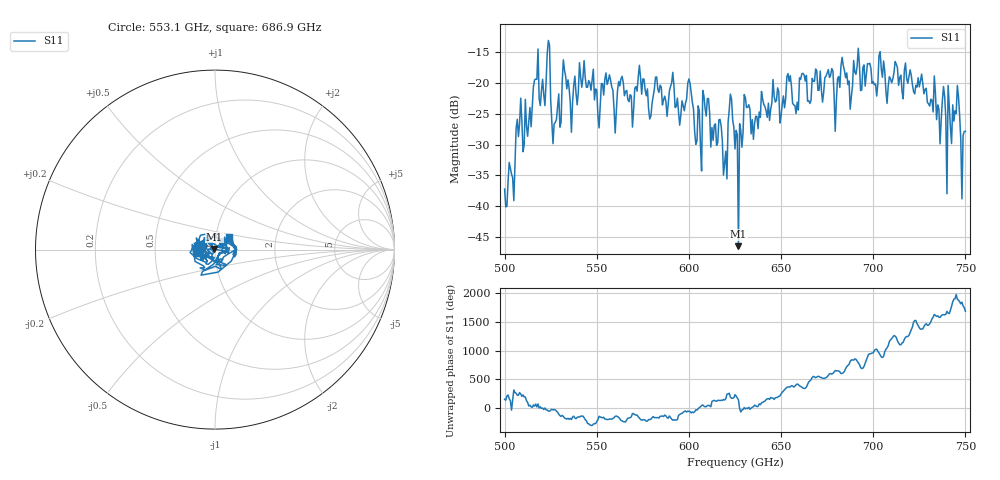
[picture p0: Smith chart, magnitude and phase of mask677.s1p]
!Created with skrf (http://scikit-rf.org).
# GHz S MA R 50.0
!freq magS11 angS11
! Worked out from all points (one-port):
!   401 points, 500 GHz to 750 GHz, reference 50 ohm
!   lowest |S11| = -46.5 dB at 626.9 GHz (marker M1), VSWR 1.01, Z = 49.6 + j0.279 ohm
!   |S11| at or under -10 dB: start of sweep to end of sweep
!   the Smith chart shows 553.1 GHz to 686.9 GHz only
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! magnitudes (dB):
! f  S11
! 500 GHz  -37.2
! 516.9 GHz  -19.3
! 520.6 GHz  -19.4
! 523.8 GHz  -13.0
! 526.9 GHz  -26.6
! 531.2 GHz  -19.8
! 560 GHz  -28.1
! 562.5 GHz  -20.4
! 579.4 GHz  -25.4
! 590.6 GHz  -19.9
! 593.8 GHz  -22.5
! 600.6 GHz  -20.0
! 605.6 GHz  -24.5
! 608.8 GHz  -24.1
! 619.4 GHz  -33.0
! 622.5 GHz  -21.8
! 625 GHz  -30.7
! 626.9 GHz  -46.5
! 631.2 GHz  -24.0
! 635 GHz  -29.1
! 656.2 GHz  -23.3
! 676.9 GHz  -18.7
! 680 GHz  -22.8
! 683.8 GHz  -17.1
! 687.5 GHz  -24.2
! 690.6 GHz  -18.6
! 718.8 GHz  -20.0
! 750 GHz  -27.8
